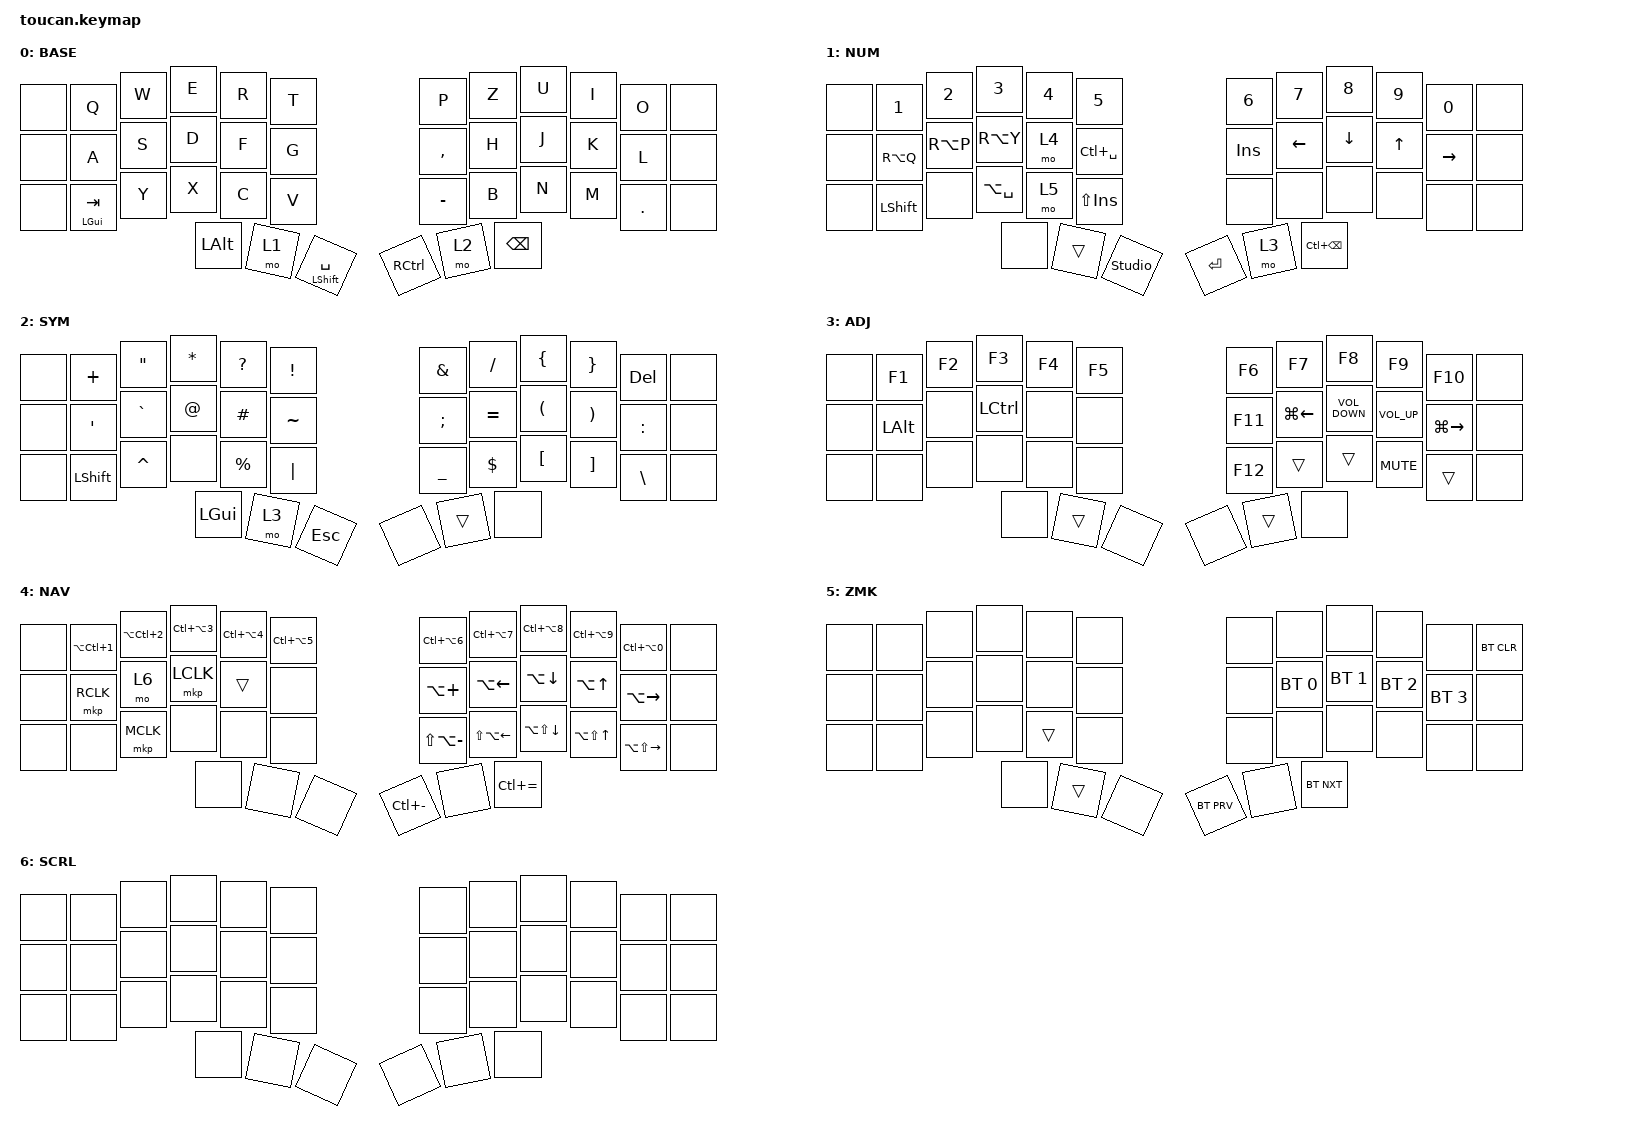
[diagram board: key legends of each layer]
#include <behaviors.dtsi>
#include <dt-bindings/zmk/bt.h>
#include <dt-bindings/zmk/keys.h>
#include <dt-bindings/zmk/pointing.h>

#define BASE 0
#define NAV  1
#define SYM  2
#define ADJ  3

/ {
    conditional_layers { compatible = "zmk,conditional-layers"; };

    keymap {
        compatible = "zmk,keymap";

        base {
            display-name = "BASE";
            bindings = <
&none  &kp Q  &kp W  &kp E  &kp R  &kp T  &kp P  &kp Z  &kp U  &kp I  &kp O  &none  &none  &kp A  &kp S  &kp D  &kp F  &kp G  &kp COMMA  &kp H  &kp J  &kp K  &kp L  &none  &none  &mt LGUI TAB  &kp Y  &kp X  &kp C  &kp V  &kp MINUS  &kp B  &kp N  &kp M  &kp PERIOD  &none  &kp LALT  &mo 1  &mt LSHIFT SPACE  &kp RCTRL  &mo 2  &kp BACKSPACE
            >;
        };

        num {
            display-name = "NUM";
            bindings = <
&none  &kp N1  &kp N2  &kp N3  &kp N4  &kp N5  &kp N6  &kp N7  &kp N8  &kp N9  &kp N0  &none  &none  &kp RA(Q)  &kp RA(P)  &kp RA(Y)  &mo 4  &kp LC(SPACE)  &kp INSERT  &kp LEFT  &kp DOWN  &kp UP_ARROW  &kp RIGHT  &none  &none  &kp LSHFT  &none  &kp LA(SPACE)  &mo 5  &kp LS(INSERT)  &none  &none  &none  &none  &none  &none  &none  &trans  &studio_unlock  &kp RET  &mo 3  &kp LC(BACKSPACE)
            >;
        };

        sym {
            display-name = "SYM";
            bindings = <
&none  &kp PLUS  &kp DOUBLE_QUOTES  &kp ASTERISK  &kp QUESTION  &kp EXCLAMATION  &kp AMPS  &kp SLASH  &kp LEFT_BRACE  &kp RIGHT_BRACE  &kp DELETE  &none  &none  &kp SINGLE_QUOTE  &kp GRAVE  &kp AT  &kp HASH  &kp TILDE  &kp SEMI  &kp EQUAL  &kp LEFT_PARENTHESIS  &kp RIGHT_PARENTHESIS  &kp COLON  &none  &none  &kp LEFT_SHIFT  &kp CARET  &none  &kp PERCENT  &kp PIPE  &kp UNDER  &kp DOLLAR  &kp LEFT_BRACKET  &kp RIGHT_BRACKET  &kp BACKSLASH  &none  &kp LGUI  &mo 3  &kp ESCAPE  &none  &trans  &none
            >;
        };

        adj {
            display-name = "ADJ";
            bindings = <
&none  &kp F1  &kp F2  &kp F3  &kp F4  &kp F5  &kp F6  &kp F7  &kp F8  &kp F9  &kp F10  &none  &none  &kp LALT  &none  &kp LCTRL  &none  &none  &kp F11  &kp LG(LEFT)  &kp C_VOLUME_DOWN  &kp C_VOLUME_UP  &kp LG(RIGHT_ARROW)  &none  &none  &none  &none  &none  &none  &none  &kp F12  &trans  &trans  &kp K_MUTE  &trans  &none  &none  &trans  &none  &none  &trans  &none
            >;
        };

        nav {
            bindings = <
&none  &kp LA(LC(N1))  &kp LA(LC(N2))  &kp LC(LA(N3))  &kp LC(LA(N4))  &kp LC(LA(N5))  &kp LC(LA(N6))  &kp LC(LA(N7))  &kp LC(LA(N8))  &kp LC(LA(N9))  &kp LC(LA(N0))  &none  &none  &mkp RCLK  &mo 6  &mkp LCLK  &trans  &none  &kp LA(PLUS)  &kp LA(LEFT)  &kp LA(DOWN)  &kp LA(UP)  &kp LA(RIGHT)  &none  &none  &none  &mkp MCLK  &none  &none  &none  &kp LS(LA(MINUS))  &kp LS(LA(LEFT_ARROW))  &kp LA(LS(DOWN))  &kp LA(LS(UP))  &kp LA(LS(RIGHT))  &none  &none  &none  &none  &kp LC(MINUS)  &none  &kp LC(EQUAL)
            >;

            label = "NAV";
        };

        ZMK {
            bindings = <
&none  &none  &none  &none  &none  &none  &none  &none  &none  &none  &none  &bt BT_CLR  &none  &none  &none  &none  &none  &none  &none  &bt BT_SEL 0  &bt BT_SEL 1  &bt BT_SEL 2  &bt BT_SEL 3  &none  &none  &none  &none  &none  &trans  &none  &none  &none  &none  &none  &none  &none  &none  &trans  &none  &bt BT_PRV  &none  &bt BT_NXT
            >;
        };

        Scroll {
            bindings = <
&none  &none  &none  &none  &none  &none  &none  &none  &none  &none  &none  &none  &none  &none  &none  &none  &none  &none  &none  &none  &none  &none  &none  &none  &none  &none  &none  &none  &none  &none  &none  &none  &none  &none  &none  &none  &none  &none  &none  &none  &none  &none
            >;

            label = "SCRL";
        };
    };
};
